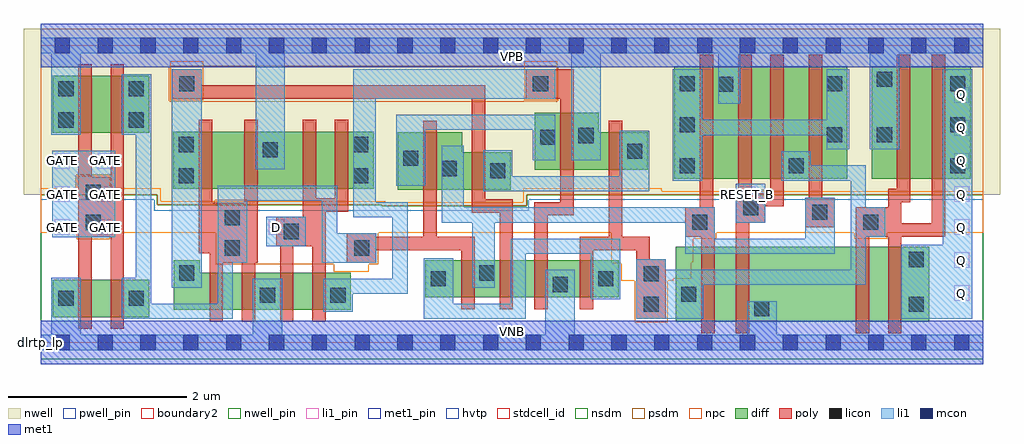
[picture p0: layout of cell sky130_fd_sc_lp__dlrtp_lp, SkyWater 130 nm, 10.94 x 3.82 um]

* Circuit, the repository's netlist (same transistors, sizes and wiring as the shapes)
* Copyright 2020 The SkyWater PDK Authors
*
* Licensed under the Apache License, Version 2.0 (the "License");
* you may not use this file except in compliance with the License.
* You may obtain a copy of the License at
*
*     https://www.apache.org/licenses/LICENSE-2.0
*
* Unless required by applicable law or agreed to in writing, software
* distributed under the License is distributed on an "AS IS" BASIS,
* WITHOUT WARRANTIES OR CONDITIONS OF ANY KIND, either express or implied.
* See the License for the specific language governing permissions and
* limitations under the License.
*
* SPDX-License-Identifier: Apache-2.0

.SUBCKT sky130_fd_sc_lp__dlrtp_lp D GATE RESET_B VGND VNB VPB VPWR Q
*.PININFO D:I GATE:I RESET_B:I VGND:I VNB:I VPB:I VPWR:I Q:O
MI635 clkpos clkneg net054 VPB sky130_fd_pr__pfet_01v8_hvt m=1 w=0.64U l=0.15U mult=1
+ sa=0.265 sb=0.265 sd=0.28 area=0.063 perim=1.14
MI17 M0 clkneg net51 VPB sky130_fd_pr__pfet_01v8_hvt m=1 w=0.64U l=0.15U mult=1
+ sa=0.265 sb=0.265 sd=0.28 area=0.063 perim=1.14
MI650 Q m1 net089 VPB sky130_fd_pr__pfet_01v8_hvt m=1 w=1.26U l=0.15U mult=1 sa=0.265
+ sb=0.265 sd=0.28 area=0.063 perim=1.14
MI633 clkneg GATE net085 VPB sky130_fd_pr__pfet_01v8_hvt m=1 w=0.64U l=0.15U mult=1
+ sa=0.265 sb=0.265 sd=0.28 area=0.063 perim=1.14
MI658 m1 RESET_B net081 VPB sky130_fd_pr__pfet_01v8_hvt m=1 w=1.26U l=0.15U mult=1
+ sa=0.265 sb=0.265 sd=0.28 area=0.063 perim=1.14
MI18 net51 db VPWR VPB sky130_fd_pr__pfet_01v8_hvt m=1 w=0.64U l=0.15U mult=1 sa=0.265
+ sb=0.265 sd=0.28 area=0.063 perim=1.14
MI653 net59 m1 VPWR VPB sky130_fd_pr__pfet_01v8_hvt m=1 w=0.42U l=0.15U mult=1
+ sa=0.265 sb=0.265 sd=0.28 area=0.063 perim=1.14
MI651 M0 clkpos net59 VPB sky130_fd_pr__pfet_01v8_hvt m=1 w=0.42U l=0.15U mult=1
+ sa=0.265 sb=0.265 sd=0.28 area=0.063 perim=1.14
MI655 m1 M0 net065 VPB sky130_fd_pr__pfet_01v8_hvt m=1 w=1.26U l=0.15U mult=1 sa=0.265
+ sb=0.265 sd=0.28 area=0.063 perim=1.14
MI638 db D net050 VPB sky130_fd_pr__pfet_01v8_hvt m=1 w=0.64U l=0.15U mult=1 sa=0.265
+ sb=0.265 sd=0.28 area=0.063 perim=1.14
MI29 net089 m1 VPWR VPB sky130_fd_pr__pfet_01v8_hvt m=1 w=1.26U l=0.15U mult=1
+ sa=0.265 sb=0.265 sd=0.28 area=0.063 perim=1.14
MI28 net081 RESET_B VPWR VPB sky130_fd_pr__pfet_01v8_hvt m=1 w=1.26U l=0.15U mult=1
+ sa=0.265 sb=0.265 sd=0.28 area=0.063 perim=1.14
MI27 net065 M0 VPWR VPB sky130_fd_pr__pfet_01v8_hvt m=1 w=1.26U l=0.15U mult=1
+ sa=0.265 sb=0.265 sd=0.28 area=0.063 perim=1.14
MI25 net050 D VPWR VPB sky130_fd_pr__pfet_01v8_hvt m=1 w=0.64U l=0.15U mult=1 sa=0.265
+ sb=0.265 sd=0.28 area=0.063 perim=1.14
MI22 net054 clkneg VPWR VPB sky130_fd_pr__pfet_01v8_hvt m=1 w=0.64U l=0.15U mult=1
+ sa=0.265 sb=0.265 sd=0.28 area=0.063 perim=1.14
MI21 net085 GATE VPWR VPB sky130_fd_pr__pfet_01v8_hvt m=1 w=0.64U l=0.15U mult=1
+ sa=0.265 sb=0.265 sd=0.28 area=0.063 perim=1.14
MI634 clkneg GATE net099 VNB sky130_fd_pr__nfet_01v8 m=1 w=0.42U l=0.15U mult=1
+ sa=0.265 sb=0.265 sd=0.28 area=0.063 perim=1.14
MI649 Q m1 net0102 VNB sky130_fd_pr__nfet_01v8 m=1 w=0.84U l=0.15U mult=1 sa=0.265
+ sb=0.265 sd=0.28 area=0.063 perim=1.14
MI657 net86 RESET_B VGND VNB sky130_fd_pr__nfet_01v8 m=1 w=0.84U l=0.15U mult=1
+ sa=0.265 sb=0.265 sd=0.28 area=0.063 perim=1.14
MI23 net0123 clkneg VGND VNB sky130_fd_pr__nfet_01v8 m=1 w=0.42U l=0.15U mult=1
+ sa=0.265 sb=0.265 sd=0.28 area=0.063 perim=1.14
MI652 M0 clkneg net102 VNB sky130_fd_pr__nfet_01v8 m=1 w=0.42U l=0.15U mult=1 sa=0.265
+ sb=0.265 sd=0.28 area=0.063 perim=1.14
MI654 net102 m1 VGND VNB sky130_fd_pr__nfet_01v8 m=1 w=0.42U l=0.15U mult=1 sa=0.265
+ sb=0.265 sd=0.28 area=0.063 perim=1.14
MI656 m1 M0 net86 VNB sky130_fd_pr__nfet_01v8 m=1 w=0.84U l=0.15U mult=1 sa=0.265
+ sb=0.265 sd=0.28 area=0.063 perim=1.14
MI26 net0106 D VGND VNB sky130_fd_pr__nfet_01v8 m=1 w=0.42U l=0.15U mult=1 sa=0.265
+ sb=0.265 sd=0.28 area=0.063 perim=1.14
MI636 clkpos clkneg net0123 VNB sky130_fd_pr__nfet_01v8 m=1 w=0.42U l=0.15U mult=1
+ sa=0.265 sb=0.265 sd=0.28 area=0.063 perim=1.14
MI637 db D net0106 VNB sky130_fd_pr__nfet_01v8 m=1 w=0.42U l=0.15U mult=1 sa=0.265
+ sb=0.265 sd=0.28 area=0.063 perim=1.14
MI19 M0 clkpos net98 VNB sky130_fd_pr__nfet_01v8 m=1 w=0.42U l=0.15U mult=1 sa=0.265
+ sb=0.265 sd=0.28 area=0.063 perim=1.14
MI20 net98 db VGND VNB sky130_fd_pr__nfet_01v8 m=1 w=0.42U l=0.15U mult=1 sa=0.265
+ sb=0.265 sd=0.28 area=0.063 perim=1.14
MI30 net0102 m1 VGND VNB sky130_fd_pr__nfet_01v8 m=1 w=0.84U l=0.15U mult=1 sa=0.265
+ sb=0.265 sd=0.28 area=0.063 perim=1.14
MI24 net099 GATE VGND VNB sky130_fd_pr__nfet_01v8 m=1 w=0.42U l=0.15U mult=1 sa=0.265
+ sb=0.265 sd=0.28 area=0.063 perim=1.14
.ENDS sky130_fd_sc_lp__dlrtp_lp

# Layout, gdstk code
import gdstk
lib = gdstk.Library(unit=1e-6, precision=1e-09)
def R(c, l, rs):  # rectangles x0, y0, x1, y1
    for r in rs: c.add(gdstk.rectangle(r[:2], r[2:], *l))
def A(c, l, x, y, w, h, nx, ny, dx, dy):  # array of equal rectangles
    R(c, l, [(x+i*dx, y+j*dy, x+i*dx+w, y+j*dy+h) for i in range(nx) for j in range(ny)])
def P(c, l, *ps):  # polygons
    for p in ps: c.add(gdstk.Polygon(p, *l))
nwell_pin = (64, 16)
nwell = (64, 20)
diff = (65, 20)
poly = (66, 20)
licon = (66, 44)
li1_pin = (67, 16)
li1 = (67, 20)
mcon = (67, 44)
met1_pin = (68, 16)
met1 = (68, 20)
hvtp = (78, 44)
stdcell_id = (81, 4)
nsdm = (93, 44)
psdm = (94, 20)
npc = (95, 20)
pwell_pin = (122, 16)
boundary2 = (236, 0)

sky130_fd_sc_lp__dlrtp_l = lib.new_cell('sky130_fd_sc_lp__dlrtp_lp')
R(sky130_fd_sc_lp__dlrtp_l, nwell_pin, [(0,3.085,10.56,3.33)])
P(sky130_fd_sc_lp__dlrtp_l, nwell, [(10.75,3.52),(-0.19,3.52),(-0.19,1.655),(1.305,1.655),(1.305,1.545),(3.82,1.545),(3.82,1.535),(5.445,1.535),(5.445,1.655),(10.75,1.655)])
R(sky130_fd_sc_lp__dlrtp_l, diff, [(7.115,0.235,9.955,1.075), (0.135,0.285,1.215,0.705), (4.31,0.505,6.475,0.925), (1.485,1.725,3.73,2.365), (7.1,1.835,9.04,3.095), (9.31,1.835,10.42,3.095), (0.135,2.35,1.215,2.99)])
P(sky130_fd_sc_lp__dlrtp_l, diff, [(3.475,0.785),(1.78,0.785),(1.78,0.925),(1.49,0.925),(1.49,0.365),(3.475,0.365)],
  [(5.265,2.135),(4.72,2.135),(4.72,2.355),(4,2.355),(4,1.715),(5.265,1.715)],
  [(6.8,2.355),(6.255,2.355),(6.255,2.575),(5.535,2.575),(5.535,1.935),(6.8,1.935)])
P(sky130_fd_sc_lp__dlrtp_l, poly, [(0.93,3.12),(0.78,3.12),(0.78,1.85),(0.57,1.85),(0.57,3.12),(0.42,3.12),(0.42,0.155),(0.57,0.155),(0.57,1.18),(0.78,1.18),(0.78,0.155),(0.93,0.155)],
  [(2.43,2.495),(2.28,2.495),(2.28,1.565),(1.92,1.565),(1.92,2.495),(1.77,2.495),(1.77,1),(1.89,1),(1.89,0.235),(2.04,0.235),(2.04,0.895),(2.25,0.895),(2.25,0.235),(2.4,0.235),(2.4,0.895),(2.43,0.895)],
  [(3.445,2.495),(3.295,2.495),(3.295,1.615),(3.085,1.615),(3.085,2.495),(2.935,2.495),(2.935,1.41),(2.64,1.41),(2.64,1.08),(2.68,1.08),(2.68,0.235),(2.83,0.235),(2.83,1.08),(3.04,1.08),(3.04,0.235),(3.19,0.235),(3.19,1.465),(3.445,1.465)],
  [(4.86,1.185),(4.435,1.185),(4.435,2.485),(4.285,2.485),(4.285,1.185),(3.76,1.185),(3.76,1.225),(3.43,1.225),(3.43,0.895),(3.76,0.895),(3.76,1.035),(4.71,1.035),(4.71,0.375),(4.86,0.375)],
  [(5.29,1.605),(4.98,1.605),(4.98,2.885),(1.8,2.885),(1.8,3.065),(1.47,3.065),(1.47,2.735),(4.83,2.735),(4.83,1.455),(5.14,1.455),(5.14,0.375),(5.29,0.375)],
  [(5.97,3.065),(5.435,3.065),(5.435,2.735),(5.82,2.735),(5.82,1.575),(5.53,1.575),(5.53,0.375),(5.68,0.375),(5.68,1.425),(5.97,1.425)],
  [(7.005,0.935),(6.825,0.935),(6.825,1.185),(6.515,1.185),(6.515,2.485),(6.365,2.485),(6.365,1.185),(6.04,1.185),(6.04,0.375),(6.19,0.375),(6.19,1.035),(6.675,1.035),(6.675,0.265),(7.005,0.265)],
  [(7.55,1.515),(7.535,1.515),(7.535,3.225),(7.385,3.225),(7.385,1.515),(7.22,1.515),(7.22,1.185),(7.4,1.185),(7.4,0.105),(7.55,0.105)],
  [(8.325,3.225),(8.175,3.225),(8.175,1.675),(7.965,1.675),(7.965,3.225),(7.815,3.225),(7.815,1.675),(7.79,1.675),(7.79,0.105),(7.94,0.105),(7.94,1.345),(8.12,1.345),(8.12,1.525),(8.325,1.525)],
  [(8.895,1.625),(8.755,1.625),(8.755,3.225),(8.605,3.225),(8.605,1.625),(8.565,1.625),(8.565,1.295),(8.895,1.295)],
  [(10.135,3.225),(9.985,3.225),(9.985,1.335),(9.645,1.335),(9.645,1.575),(9.745,1.575),(9.745,3.225),(9.595,3.225),(9.595,1.725),(9.495,1.725),(9.495,1.515),(9.135,1.515),(9.135,0.105),(9.285,0.105),(9.285,1.185),(9.495,1.185),(9.495,0.105),(9.645,0.105),(9.645,1.185),(10.135,1.185)])
A(sky130_fd_sc_lp__dlrtp_l, licon, 7.16, 1.895, 0.17, 0.17, 1, 3, 0, 0.46)
A(sky130_fd_sc_lp__dlrtp_l, licon, 10.19, 1.895, 0.17, 0.17, 1, 3, 0, 0.46)
R(sky130_fd_sc_lp__dlrtp_l, licon, [(7.995,0.295,8.165,0.465), (6.755,0.345,6.925,0.515), (9.725,0.345,9.895,0.515), (0.195,0.41,0.365,0.58), (0.985,0.41,1.155,0.58), (2.455,0.445,2.625,0.615), (3.245,0.445,3.415,0.615), (7.175,0.455,7.345,0.625), (5.735,0.565,5.905,0.735), (4.37,0.63,4.54,0.8), (6.245,0.63,6.415,0.8), (6.755,0.685,6.925,0.855), (1.55,0.695,1.72,0.865), (4.915,0.695,5.085,0.865), (9.725,0.845,9.895,1.015), (2.06,0.975,2.23,1.145), (3.51,0.975,3.68,1.145), (2.72,1.16,2.89,1.33), (0.5,1.26,0.67,1.43), (7.3,1.265,7.47,1.435), (9.215,1.265,9.385,1.435), (2.06,1.315,2.23,1.485), (8.645,1.375,8.815,1.545), (7.87,1.425,8.04,1.595), (0.5,1.6,0.67,1.77), (1.545,1.785,1.715,1.955), (3.5,1.785,3.67,1.955), (5.035,1.84,5.205,2.01), (4.49,1.865,4.66,2.035), (8.38,1.895,8.55,2.065), (4.06,1.98,4.23,2.15), (6.57,2.06,6.74,2.23), (2.485,2.075,2.655,2.245), (1.545,2.135,1.715,2.305), (3.5,2.135,3.67,2.305), (5.595,2.215,5.765,2.385), (6.025,2.235,6.195,2.405), (8.81,2.245,8.98,2.415), (9.37,2.245,9.54,2.415), (0.195,2.41,0.365,2.58), (0.985,2.41,1.155,2.58), (0.195,2.76,0.365,2.93), (0.985,2.76,1.155,2.93), (7.59,2.81,7.76,2.98), (1.55,2.815,1.72,2.985), (5.515,2.815,5.685,2.985), (8.81,2.815,8.98,2.985), (9.37,2.865,9.54,3.035)])
A(sky130_fd_sc_lp__dlrtp_l, li1_pin, 10.235, 0.47, 0.17, 0.17, 1, 7, 0, 0.37)
A(sky130_fd_sc_lp__dlrtp_l, li1_pin, 0.155, 1.21, 0.17, 0.17, 1, 3, 0, 0.37)
A(sky130_fd_sc_lp__dlrtp_l, li1_pin, 0.635, 1.21, 0.17, 0.17, 1, 3, 0, 0.37)
R(sky130_fd_sc_lp__dlrtp_l, li1_pin, [(2.555,1.21,2.725,1.38), (7.835,1.58,8.005,1.75)])
R(sky130_fd_sc_lp__dlrtp_l, li1, [(1.465,0.615,1.8,3.065), (2.525,1.08,2.97,1.41), (0.125,1.18,0.835,2.15), (7.79,1.345,8.12,1.78)])
P(sky130_fd_sc_lp__dlrtp_l, li1, [(5.945,2.045),(5.945,3.245),(2.735,3.245),(2.735,1.94),(2.405,1.94),(2.405,3.245),(0.445,3.245),(0.445,2.33),(0.115,2.33),(0.115,3.245),(0,3.245),(0,3.415),(10.56,3.415),(10.56,3.245),(9.62,3.245),(9.62,2.165),(9.29,2.165),(9.29,3.245),(7.84,3.245),(7.84,2.675),(7.59,2.675),(7.59,3.245),(6.275,3.245),(6.275,2.045)],
  [(0.115,0.085),(0.115,0.725),(0.445,0.725),(0.445,0.085),(2.375,0.085),(2.375,0.715),(2.705,0.715),(2.705,0.085),(5.655,0.085),(5.655,0.815),(5.985,0.815),(5.985,0.085),(7.915,0.085),(7.915,0.465),(8.245,0.465),(8.245,0.085),(10.56,0.085),(10.56,-0.085),(0,-0.085),(0,0.085)],
  [(3.15,0.895),(3.15,1.59),(2.31,1.59),(2.31,0.895),(2.15,0.895),(2.15,0.265),(0.905,0.265),(0.905,0.725),(1.065,0.725),(1.065,2.33),(0.905,2.33),(0.905,3.01),(1.235,3.01),(1.235,0.435),(1.98,0.435),(1.98,1.76),(3.32,1.76),(3.32,1.225),(3.76,1.225),(3.76,0.895)],
  [(4.49,1.345),(4.49,2.205),(4.74,2.205),(4.74,1.515),(7.55,1.515),(7.55,1.165),(8.565,1.165),(8.565,1.625),(8.895,1.625),(8.895,0.995),(7.22,0.995),(7.22,1.345),(5.085,1.345),(5.085,0.615),(4.835,0.615),(4.835,1.345)],
  [(9.075,1.815),(8.3,1.815),(8.3,2.145),(8.63,2.145),(8.63,1.985),(9.245,1.985),(9.245,1.515),(9.465,1.515),(9.465,1.185),(9.245,1.185),(9.245,0.645),(7.425,0.645),(7.425,0.265),(6.675,0.265),(6.675,0.935),(7.005,0.935),(7.005,0.815),(9.075,0.815)],
  [(5.265,1.165),(6.495,1.165),(6.495,0.485),(6.165,0.485),(6.165,0.995),(5.435,0.995),(5.435,0.265),(4.29,0.265),(4.29,0.945),(4.62,0.945),(4.62,0.435),(5.265,0.435)],
  [(3.75,1.575),(4.11,1.575),(4.11,0.545),(3.495,0.545),(3.495,0.345),(3.165,0.345),(3.165,0.715),(3.94,0.715),(3.94,1.405),(3.5,1.405),(3.5,3.065),(5.765,3.065),(5.765,2.735),(3.75,2.735)],
  [(10.11,3.065),(10.44,3.065),(10.44,0.265),(9.645,0.265),(9.645,1.095),(10.11,1.095)],
  [(8.81,2.165),(8.81,2.325),(7.41,2.325),(7.41,1.815),(7.08,1.815),(7.08,3.065),(7.41,3.065),(7.41,2.495),(8.81,2.495),(8.81,3.065),(9.06,3.065),(9.06,2.165)],
  [(6.49,1.865),(6.49,2.375),(6.82,2.375),(6.82,1.695),(4.955,1.695),(4.955,2.155),(5.285,2.155),(5.285,1.865)],
  [(5.515,2.045),(5.515,2.385),(4.31,2.385),(4.31,1.755),(3.98,1.755),(3.98,2.555),(5.765,2.555),(5.765,2.045)])
A(sky130_fd_sc_lp__dlrtp_l, mcon, 0.155, -0.085, 0.17, 0.17, 22, 2, 0.48, 3.33)
R(sky130_fd_sc_lp__dlrtp_l, met1_pin, [(0,0,10.56,0.245), (0,3.085,10.56,3.33)])
R(sky130_fd_sc_lp__dlrtp_l, met1, [(0,-0.245,10.56,0.245), (0,3.085,10.56,3.575)])
R(sky130_fd_sc_lp__dlrtp_l, hvtp, [(1.27,1.48,5.47,1.6), (0,1.6,10.56,3.33)])
R(sky130_fd_sc_lp__dlrtp_l, stdcell_id, [(0,0,10.56,3.33)])
P(sky130_fd_sc_lp__dlrtp_l, nsdm, [(10.56,1.655),(5.445,1.655),(5.445,1.535),(3.82,1.535),(3.82,1.545),(1.305,1.545),(1.305,1.655),(0,1.655),(0,-0.19),(10.56,-0.19)])
P(sky130_fd_sc_lp__dlrtp_l, psdm, [(10.56,3.52),(5.795,3.52),(5.795,2.705),(1.44,2.705),(1.44,3.095),(5.795,3.095),(5.795,3.52),(0,3.52),(0,1.655),(0.39,1.655),(0.39,1.88),(0.78,1.88),(0.78,1.655),(1.305,1.655),(1.305,1.545),(1.95,1.545),(1.95,1.595),(2.34,1.595),(2.34,1.545),(3.82,1.545),(3.82,1.535),(5.445,1.535),(5.445,1.655),(7.76,1.655),(7.76,1.705),(8.15,1.705),(8.15,1.655),(10.56,1.655)])
R(sky130_fd_sc_lp__dlrtp_l, npc, [(1.45,2.715,1.82,3.155), (5.415,2.715,5.785,3.155)])
P(sky130_fd_sc_lp__dlrtp_l, npc, [(10.56,1.695),(6.96,1.695),(6.96,1.73),(5.405,1.73),(5.405,1.575),(3.86,1.575),(3.86,1.585),(1.345,1.585),(1.345,1.73),(0.77,1.73),(0.77,1.87),(0.4,1.87),(0.4,1.73),(0,1.73),(0,1.23),(0.4,1.23),(0.4,1.16),(0.77,1.16),(0.77,1.23),(1.96,1.23),(1.96,0.875),(3.28,0.875),(3.28,0.795),(3.675,0.795),(3.675,0.875),(3.78,0.875),(3.78,1.23),(6.39,1.23),(6.39,0.89),(6.505,0.89),(6.505,0.69),(6.655,0.69),(6.655,0.225),(7.025,0.225),(7.025,0.69),(7.085,0.69),(7.085,0.715),(7.29,0.715),(7.29,0.9),(7.31,0.9),(7.31,1.165),(7.57,1.165),(7.57,1.23),(9.115,1.23),(9.115,1.165),(9.485,1.165),(9.485,1.23),(10.56,1.23)])
R(sky130_fd_sc_lp__dlrtp_l, pwell_pin, [(0,0,10.56,0.245)])
R(sky130_fd_sc_lp__dlrtp_l, boundary2, [(0,0,10.56,3.33)])
sky130_fd_sc_lp__dlrtp_l.add(gdstk.Label('VNB', (5.28,0.123), layer=64, texttype=59))
sky130_fd_sc_lp__dlrtp_l.add(gdstk.Label('VPB', (5.28,3.208), layer=64, texttype=5))
sky130_fd_sc_lp__dlrtp_l.add(gdstk.Label('dlrtp_lp', (0,0), layer=83, texttype=44))
sky130_fd_sc_lp__dlrtp_l.add(gdstk.Label('VPWR', (5.28,3.208), layer=68, texttype=5))
sky130_fd_sc_lp__dlrtp_l.add(gdstk.Label('VGND', (5.28,0.123), layer=68, texttype=5))
sky130_fd_sc_lp__dlrtp_l.add(gdstk.Label('GATE', (0.24,1.295), layer=67, texttype=5))
sky130_fd_sc_lp__dlrtp_l.add(gdstk.Label('GATE', (0.24,1.665), layer=67, texttype=5))
sky130_fd_sc_lp__dlrtp_l.add(gdstk.Label('GATE', (0.24,2.035), layer=67, texttype=5))
sky130_fd_sc_lp__dlrtp_l.add(gdstk.Label('GATE', (0.72,1.295), layer=67, texttype=5))
sky130_fd_sc_lp__dlrtp_l.add(gdstk.Label('GATE', (0.72,1.665), layer=67, texttype=5))
sky130_fd_sc_lp__dlrtp_l.add(gdstk.Label('GATE', (0.72,2.035), layer=67, texttype=5))
sky130_fd_sc_lp__dlrtp_l.add(gdstk.Label('D', (2.64,1.295), layer=67, texttype=5))
sky130_fd_sc_lp__dlrtp_l.add(gdstk.Label('RESET_B', (7.92,1.665), layer=67, texttype=5))
sky130_fd_sc_lp__dlrtp_l.add(gdstk.Label('Q', (10.32,0.555), layer=67, texttype=5))
sky130_fd_sc_lp__dlrtp_l.add(gdstk.Label('Q', (10.32,0.925), layer=67, texttype=5))
sky130_fd_sc_lp__dlrtp_l.add(gdstk.Label('Q', (10.32,1.295), layer=67, texttype=5))
sky130_fd_sc_lp__dlrtp_l.add(gdstk.Label('Q', (10.32,1.665), layer=67, texttype=5))
sky130_fd_sc_lp__dlrtp_l.add(gdstk.Label('Q', (10.32,2.035), layer=67, texttype=5))
sky130_fd_sc_lp__dlrtp_l.add(gdstk.Label('Q', (10.32,2.405), layer=67, texttype=5))
sky130_fd_sc_lp__dlrtp_l.add(gdstk.Label('Q', (10.32,2.775), layer=67, texttype=5))

lib.write_gds('sky130_fd_sc_lp__dlrtp_lp.gds')
